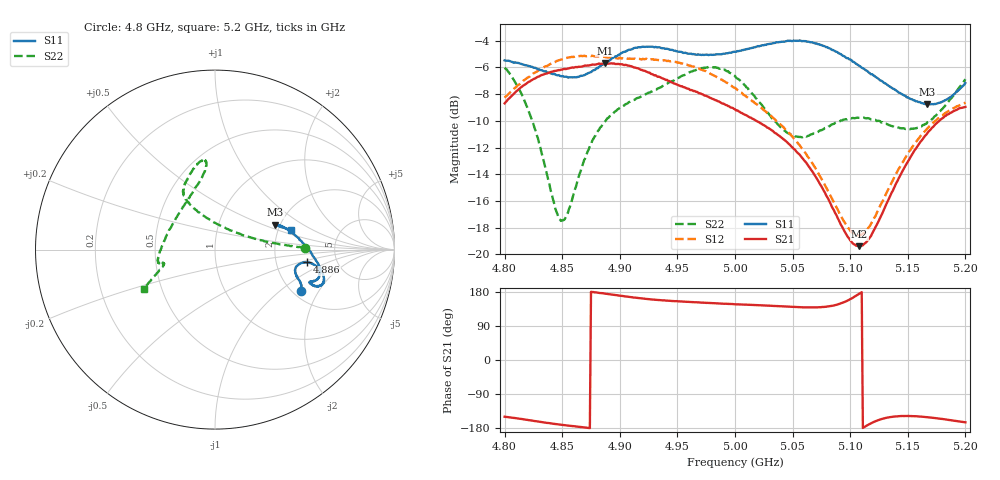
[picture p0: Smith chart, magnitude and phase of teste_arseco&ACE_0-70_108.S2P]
! Network Analyzer HP8722D
! Hewlett-Packard
! Data name: Linha & Wilkinson
! Saver's name: Rodrigo Anjos
! Comments: Teste da utilização de aquisição
! continua pelo VNA HP8722D
! Time and date: 8/5/2025 13:39
!  Frequency  S11  S21  S12  S22
# HZ  S  MA R 50
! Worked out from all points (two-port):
!   401 points, 4.8 GHz to 5.2 GHz, reference 50 ohm
!   highest |S21| = -5.66 dB at 4.887 GHz (marker M1); lowest = -19.4 dB at 5.108 GHz (marker M2)
!   |S21| within 3 dB of the highest: 4.8 GHz to 4.988 GHz (188 MHz wide, 3.84 % of centre)
!   lowest |S11| = -8.8 dB at 5.167 GHz (marker M3), VSWR 2.15, Z = 94.6 + j30.2 ohm
!   |S11| at or under -10 dB: nowhere
!   |S22| runs from -17.5 to -6.0 dB; largest |S21 - S12| = 1.1
!   S11 on the Smith chart (normalised r, x): 4.8 GHz: 2.23, -1.42; 4.886 GHz: 3.01, -0.58; 5.2 GHz: 2.35, +0.64
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4.8e9  0.5328 -25.4  0.3679 -149.6  0.3859 9.8  0.4995 1.2
4.811e9  0.5214 -22.8  0.4107 -154.2  0.4283 8.1  0.4277 2.7
4.822e9  0.5065 -20.8  0.4442 -159.0  0.464 6.4  0.3348 6.0
4.848e9  0.466 -16.3  0.4897 -170.4  0.5345 2.4  0.135 56.7
4.854e9  0.4623 -14.8  0.4956 -172.7  0.5438 1.5  0.1405 81.6
4.867e9  0.4661 -11.1  0.5049 -177.2  0.5532 -0.4  0.2127 110.4
4.886e9  0.5159 -7.8  0.518 175.7  0.5493 -1.8  0.3103 119.9
4.887e9  0.5191 -8.1  0.5209 175.4  0.5482 -1.8  0.314 119.8
4.913e9  0.5936 -11.5  0.5007 164.7  0.5409 -1.1  0.3794 117.4
4.934e9  0.5965 -16.0  0.4628 158.0  0.5338 -1.9  0.4195 111.4
4.975e9  0.56 -19.0  0.3926 150.7  0.4844 -5.8  0.5009 98.2
5e9  0.5736 -19.8  0.3494 147.1  0.4202 -5.8  0.4658 96.2
5.018e9  0.5977 -19.8  0.3168 145.0  0.3669 -3.2  0.3846 103.3
5.044e9  0.6277 -17.9  0.2658 141.1  0.2926 2.5  0.2887 131.6
5.067e9  0.6226 -13.7  0.2048 138.7  0.2198 9.2  0.2821 164.7
5.096e9  0.547 -3.9  0.1201 154.3  0.13 34.9  0.321 -171.5
5.108e9  0.508 1.7  0.1073 175.1  0.1179 58.0  0.3248 -167.8
5.118e9  0.4725 6.8  0.1171 -166.9  0.1299 77.3  0.3201 -166.6
5.134e9  0.4264 14.6  0.1629 -151.0  0.1785 94.7  0.3045 -165.6
5.167e9  0.3643 22.3  0.2843 -150.9  0.296 101.7  0.3124 -161.5
5.183e9  0.3786 20.1  0.3303 -156.9  0.3391 101.8  0.3627 -156.9
5.2e9  0.4381 14.6  0.3566 -164.4  0.3705 102.2  0.4529 -150.8
